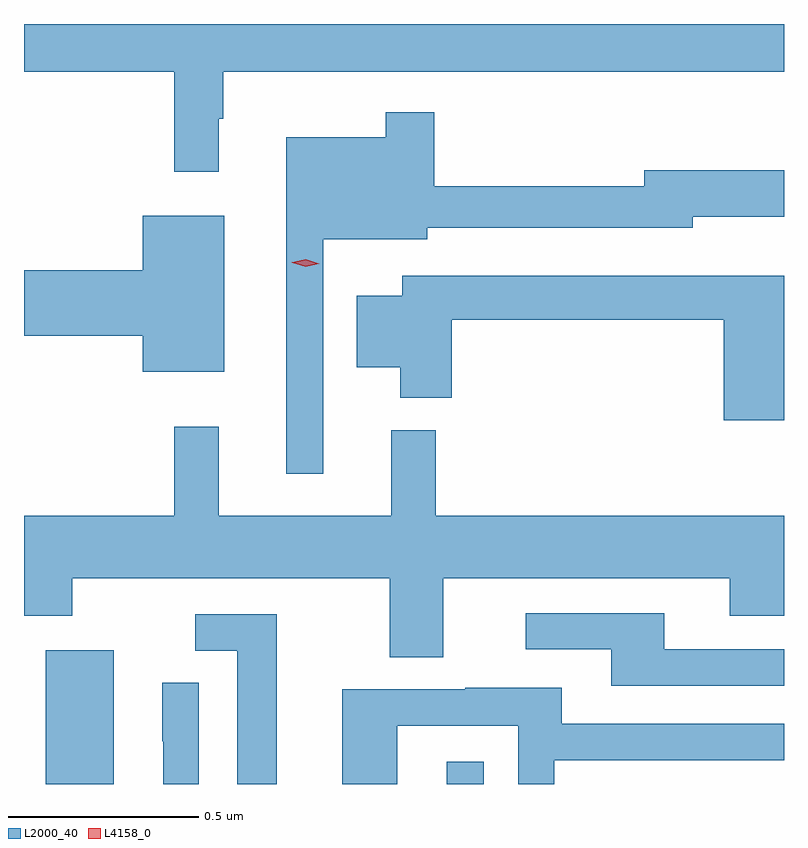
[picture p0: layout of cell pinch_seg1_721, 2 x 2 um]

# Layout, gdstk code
import gdstk
lib = gdstk.Library(unit=1e-6, precision=1e-09)
def R(c, l, rs):  # rectangles x0, y0, x1, y1
    for r in rs: c.add(gdstk.rectangle(r[:2], r[2:], *l))
def P(c, l, *ps):  # polygons
    for p in ps: c.add(gdstk.Polygon(p, *l))
L2000_40 = (2000, 40)
L4158_0 = (4158, 0)

pinch_seg1_721 = lib.new_cell('pinch_seg1_721')
R(pinch_seg1_721, L2000_40, [(742.523,576.498,742.702,576.85), (743.579,576.498,743.676,576.556)])
P(pinch_seg1_721, L2000_40, [(742.978,578.249),(742.99,578.249),(742.99,578.372),(744.466,578.372),(744.466,578.498),(742.466,578.498),(742.466,578.372),(742.861,578.372),(742.861,578.109),(742.978,578.109)],
  [(743.253,577.931),(743.527,577.931),(743.527,577.962),(744.226,577.962),(744.226,577.991),(744.466,577.991),(744.466,578.113),(744.098,578.113),(744.098,578.071),(743.546,578.071),(743.546,578.266),(743.418,578.266),(743.418,578.2),(743.156,578.2),(743.156,577.314),(743.253,577.314)],
  [(742.993,577.993),(742.778,577.993),(742.778,577.85),(742.466,577.85),(742.466,577.678),(742.778,577.678),(742.778,577.583),(742.993,577.583)],
  [(744.466,577.836),(743.462,577.836),(743.462,577.783),(743.342,577.783),(743.342,577.595),(743.456,577.595),(743.456,577.514),(743.591,577.514),(743.591,577.72),(744.308,577.72),(744.308,577.455),(744.466,577.455)],
  [(743.569,577.04),(744.323,577.04),(744.323,576.941),(744.466,576.941),(744.466,577.204),(743.549,577.204),(743.549,577.429),(743.432,577.429),(743.432,577.204),(742.979,577.204),(742.979,577.438),(742.861,577.438),(742.861,577.204),(742.466,577.204),(742.466,576.941),(742.593,576.941),(742.593,577.04),(743.429,577.04),(743.429,576.832),(743.569,576.832)],
  [(744.466,576.852),(744.151,576.852),(744.151,576.948),(743.787,576.948),(743.787,576.852),(744.011,576.852),(744.011,576.756),(744.466,576.756)],
  [(743.131,576.945),(742.917,576.945),(742.917,576.849),(743.027,576.849),(743.027,576.498),(743.131,576.498)],
  [(742.926,576.764),(742.83,576.764),(742.83,576.61),(742.832,576.61),(742.832,576.498),(742.926,576.498)],
  [(743.448,576.651),(743.766,576.651),(743.766,576.498),(743.862,576.498),(743.862,576.561),(744.466,576.561),(744.466,576.657),(743.881,576.657),(743.881,576.751),(743.627,576.751),(743.627,576.747),(743.303,576.747),(743.303,576.498),(743.448,576.498)])
P(pinch_seg1_721, L4158_0, [(743.207,577.859),(743.172,577.87),(743.171,577.871),(743.172,577.871),(743.207,577.879),(743.243,577.867),(743.243,577.867),(743.243,577.867)])

lib.write_gds('pinch_seg1_721.gds')
